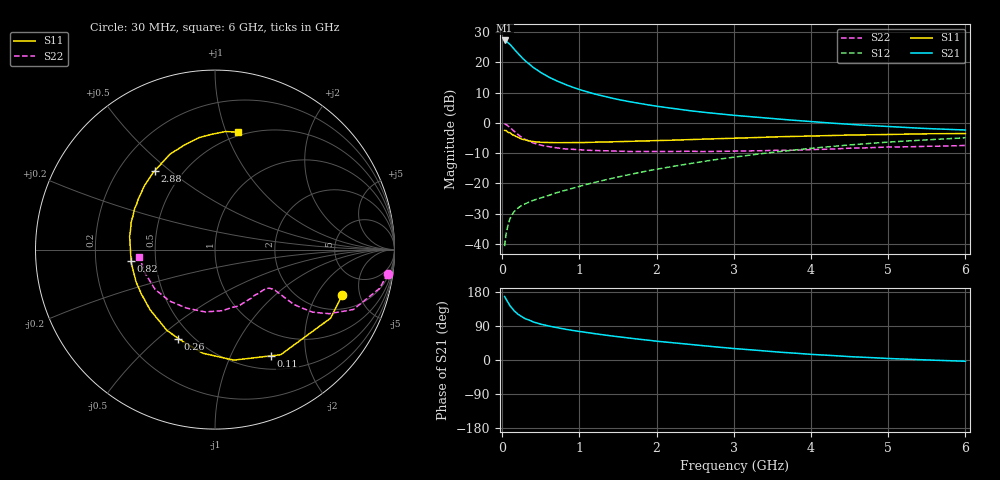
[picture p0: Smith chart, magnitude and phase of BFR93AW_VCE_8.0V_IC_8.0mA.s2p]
! Infineon Technologies  Discrete & RF Semiconductors
! BFR93AW
! VCE =  8.0 V,  IC =  8.0 mA
! Common Emitter S-Parameters:  Nov 2015
# GHz  S  MA  R  50
!  f  S11  S21  S12  S22
! GHz  MAG  ANG  MAG  ANG  MAG  ANG  MAG  ANG
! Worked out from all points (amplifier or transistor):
!   206 points, 30 MHz to 6 GHz, reference 50 ohm
!   highest |S21| = 27.2 dB at 30 MHz (marker M1)
!   |S21| within 3 dB of that: start of sweep to 158.6 MHz
!   unconditionally stable (mu >= 1): 808.6 MHz to 2.196 GHz
!   at 200 MHz: K = 0.42, MSG = 25.6 dB, |S12| = -28.2 dB
!   at 1.56 GHz: K = 1.07, MAG = 10.9 dB, |S12| = -17.5 dB
!   at 6 GHz: K = 0.89, MSG = 1.3 dB, |S12| = -4.9 dB
!   S11 on the Smith chart (normalised r, x): 30 MHz: 2.92, -3.40; 110 MHz: 0.67, -1.44; 260 MHz: 0.42, -0.58; 820 MHz: 0.36, -0.06; 2.88 GHz: 0.35, +0.44; 6 GHz: 0.47, +1.10
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0.03  0.7528 -19.6  22.98 167.7  0.0092 78.5  0.9725 -8.1
0.05  0.7487 -30.7  22.53 159.7  0.0148 75.1  0.9414 -13.3
0.1  0.6907 -58.0  19.83 143.0  0.0263 65.3  0.8402 -23.4
0.11  0.6699 -62.1  19.14 140.8  0.0278 63.3  0.8175 -24.5
0.15  0.6248 -80.3  16.73 130.3  0.034 57.2  0.73 -29.3
0.2  0.5815 -96.6  14.18 121.2  0.0389 53.6  0.6451 -32.7
0.24  0.5468 -107.4  12.52 115.7  0.0423 51.7  0.5911 -33.8
0.26  0.5363 -112.4  11.8 113.1  0.0438 51.2  0.5685 -34.2
0.3  0.5231 -121.0  10.53 108.7  0.0463 50.8  0.5318 -34.8
0.4  0.4933 -137.1  8.25 100.5  0.0526 52.4  0.4664 -34.5
0.5  0.4791 -148.9  6.78 94.4  0.0577 53.7  0.4269 -34.3
0.6  0.4752 -157.6  5.724 89.6  0.0632 55.8  0.4041 -34.1
0.82  0.4718 -172.1  4.285 81.1  0.0775 59.8  0.3719 -35.4
1.04  0.4729 177.6  3.429 74.0  0.0926 62.8  0.3573 -37.8
1.2  0.4813 171.2  2.992 69.3  0.1043 64.4  0.3499 -40.3
1.5  0.4914 161.8  2.434 61.4  0.1277 66.5  0.3422 -46.2
2.02  0.5114 146.9  1.869 49.2  0.1736 66.8  0.3369 -58.4
2.88  0.5523 127.6  1.381 32.5  0.2592 63.0  0.3399 -80.2
3.1  0.5622 123.0  1.301 28.8  0.2819 61.3  0.3424 -86.4
4.1  0.6112 104.5  1.027 13.8  0.3905 51.8  0.3642 -119.1
5.1  0.6462 90.0  0.856 3.3  0.4903 39.8  0.4006 -149.4
6  0.6669 79.1  0.763 -3.3  0.5672 29.1  0.4241 -174.4
